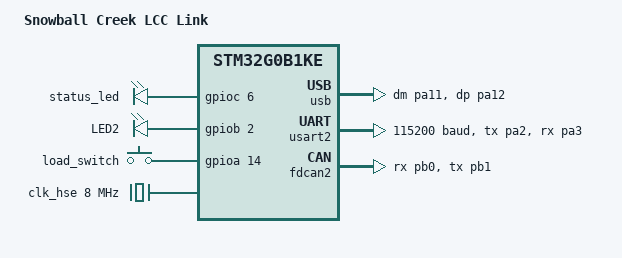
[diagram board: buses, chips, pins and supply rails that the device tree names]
/*
 * Copyright (c) 2024 Robert Middleton
 *
 * SPDX-License-Identifier: Apache-2.0
 */

/dts-v1/;
#include <st/g0/stm32g0b1Xe.dtsi>
#include <st/g0/stm32g0b1k(b-c-e)tx-pinctrl.dtsi>
#include <zephyr/dt-bindings/input/input-event-codes.h>
#include <zephyr/dt-bindings/pinctrl/stm32-pinctrl.h>
#include <zephyr/dt-bindings/pinctrl/stm32-pinctrl-common.h>

/* CPU: STM32G0B1KE
 * FLASH: 512k
 * SRAM: 128(parity-protected)/144(not parity-protected)
 */

/ {
	model = "Snowball Creek LCC Link";
	compatible = "st,stm32g0b1ke-lcc-link";

	chosen {
		zephyr,console = &usart2;
		zephyr,shell-uart = &usart2;
		zephyr,uart-mcumgr = &usart2;
		zephyr,sram = &sram0;
		zephyr,flash = &flash0;
		zephyr,code-partition = &slot0_partition;
		zephyr,canbus = &fdcan2;
	};

	aliases {
	};

	leds: leds {
		compatible = "gpio-leds";
		status_led: led_1 {
			gpios = <&gpioc 6 GPIO_ACTIVE_HIGH>;
			label = "status_led";
		};
		led2: led_2 {
			gpios = <&gpiob 2 GPIO_ACTIVE_HIGH>;
			label = "LED2";
		};
	};

	gpio_keys {
		compatible = "gpio-keys";
		load_switch: button_load {
			label = "load_switch";
			gpios = <&gpioa 14 (GPIO_ACTIVE_HIGH)>;
		};
	};
};

/*
&clk_lsi {
	status = "okay";
};

&clk_hsi {
	status = "okay";
};

&clk_hsi48 {
	status = "okay";
	crs-usb-sof;
};
*/

&clk_hse {
	status = "okay";
	hse-bypass;
	clock-frequency = <DT_FREQ_M(8)>;
};

&pll {
	div-m = <1>;
	mul-n = <12>;
	div-p = <2>;
	div-q = <2>;
	div-r = <3>;
	clocks = <&clk_hse>;
	status = "okay";
};


&rcc {
	clocks = <&pll>;
	clock-frequency = <DT_FREQ_M(32)>;
	ahb-prescaler = <1>;
	apb1-prescaler = <1>;
};


zephyr_udc0: &usb {
	pinctrl-0 = <&usb_dm_pa11 &usb_dp_pa12>;
	pinctrl-names = "default";
	status = "okay";
	// USB_SEL is 2 for some reason:
	// https://klipper.discourse.group/t/stm32g0-usb-clock-config/4487/2
	clocks = <&rcc STM32_CLOCK_BUS_APB1 0x00002000>,
		<&rcc STM32_SRC_PLL_Q USB_SEL(2)>;

/*
	cdc_acm_console: cdc_acm_console {
		compatible = "zephyr,cdc-acm-uart";
	};
*/
	cdc_acm_can: cdc_acm_can {
		compatible = "zephyr,cdc-acm-uart";
	};
	cdc_acm_dcc: cdc_acm_dcc {
		compatible = "zephyr,cdc-acm-uart";
	};
};

/*
&usart1 {
	pinctrl-0 = <&usart1_tx_pc4 &usart1_rx_pc5>;
	pinctrl-names = "default";
	current-speed = <115200>;
	status = "disabled";
};
*/


/*
&rtc {
	clocks = <&rcc STM32_CLOCK_BUS_APB1 0x00000400>,
		 <&rcc STM32_SRC_LSI RTC_SEL(2)>;
	status = "okay";
};

&iwdg {
	status = "okay";
};
*/

/*
&spi1 {
	pinctrl-0 = <&spi1_sck_pb3
		     &spi1_miso_pb4 &spi1_mosi_pb5>;
	pinctrl-names = "default";
	status = "okay";

	cs-gpios = <&gpiob 7 GPIO_ACTIVE_LOW>;

	gpio_expander: mcp23s17@0 {
		compatible = "microchip,mcp23s17";
		spi-max-frequency = <1000000>;
		reg = <0x0>;
		gpio-controller;
		#gpio-cells = <2>;
		ngpios = <16>;
		reset-gpios = <&gpioa 8 GPIO_ACTIVE_LOW>;
	};
};
*/

&usart2 {
	pinctrl-0 = <&usart2_tx_pa2 &usart2_rx_pa3>;
	pinctrl-names = "default";
	current-speed = <115200>;
	status = "okay";
};

&fdcan2 {
	clocks = <&rcc STM32_CLOCK_BUS_APB1 0x00001000>,
		 <&rcc STM32_SRC_PLL_Q FDCAN_SEL(1)>;
	pinctrl-0 = <&fdcan2_rx_pb0 &fdcan2_tx_pb1>;
	pinctrl-names = "default";
	status = "okay";
};

&flash0 {
	partitions {
		compatible = "fixed-partitions";
		#address-cells = <1>;
		#size-cells = <1>;

		/* We have 512k of flash, so let's not worry too much about space */
		boot_partition: partition@0 {
			label = "bootloader";
			reg = <0x00000000 DT_SIZE_K(48)>;
			read-only;
		};
		slot0_partition: partition@C000 {
			label = "image-0";
			reg = <0x0000C000 DT_SIZE_K(192)>;
		};
		slot1_partition: partition@3C000 {
			label = "image-1";
			reg = <0x0003C000 DT_SIZE_K(192)>;
		};
	};
};
